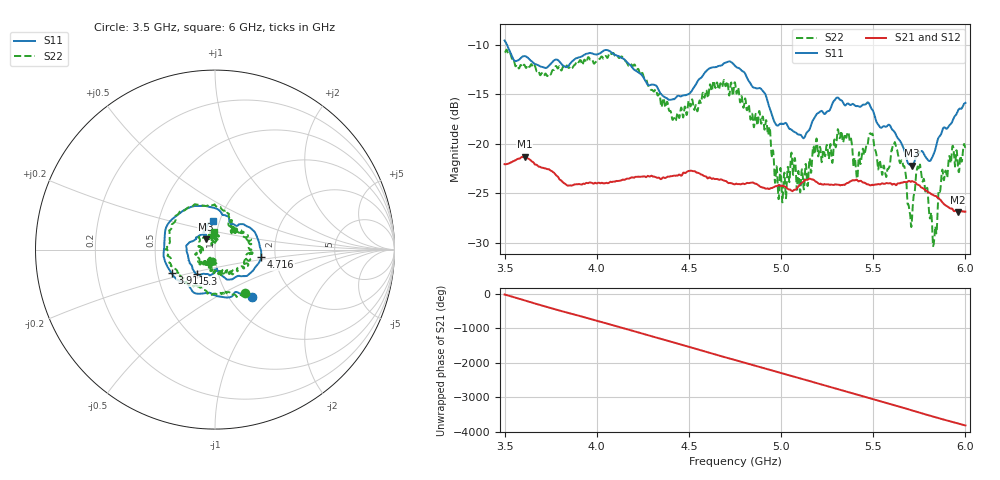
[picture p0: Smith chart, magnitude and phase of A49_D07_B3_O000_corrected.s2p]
! Created with skrf 1.9.0 (http://scikit-rf.org).
# Hz S RI R 50.0
!freq ReS11 ImS11 ReS21 ImS21 ReS12 ImS12 ReS22 ImS22
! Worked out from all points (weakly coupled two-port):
!   1601 points, 3.5 GHz to 6 GHz, reference 50 ohm
!   highest |S21| = -21.31 dB at 3.609 GHz (marker M1); lowest = -26.9 dB at 5.959 GHz (marker M2)
!   lowest |S11| = -22.2 dB at 5.711 GHz (marker M3), VSWR 1.17, Z = 44.9 + j5.25 ohm
!   |S11| at or under -10 dB: 3.514 GHz to end of sweep
!   |S22| runs from -30.4 to -10.5 dB; largest |S21 - S12| = 0.00091
!   S11 on the Smith chart (normalised r, x): 3.5 GHz: 1.27, -0.75; 3.911 GHz: 0.59, -0.17; 4.716 GHz: 1.69, -0.15; 5.3 GHz: 0.79, -0.22; 6 GHz: 0.93, +0.31
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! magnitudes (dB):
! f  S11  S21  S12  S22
! 3.5 GHz  -9.5  -22.1  -22.0  -10.7
! 3.609 GHz  -11.1  -21.3  -21.3  -12.0
! 3.911 GHz  -11.2  -24.1  -24.1  -11.5
! 3.917 GHz  -11.2  -24.1  -24.1  -11.7
! 4.334 GHz  -14.5  -23.4  -23.4  -15.1
! 4.42 GHz  -15.5  -23.2  -23.2  -17.4
! 4.716 GHz  -11.7  -24.0  -24.0  -14.9
! 4.75 GHz  -12.1  -24.1  -24.0  -13.8
! 4.928 GHz  -15.8  -24.5  -24.5  -19.1
! 4.997 GHz  -18.0  -24.3  -24.2  -22.4
! 5.167 GHz  -17.8  -23.6  -23.6  -21.9
! 5.3 GHz  -15.4  -24.1  -24.1  -20.0
! 5.405 GHz  -16.2  -23.7  -23.6  -22.3
! 5.489 GHz  -16.4  -24.2  -24.2  -19.0
! 5.584 GHz  -18.1  -24.0  -24.0  -22.4
! 5.62 GHz  -19.0  -24.1  -24.2  -20.0
! 5.711 GHz  -22.2  -23.8  -23.7  -27.4
! 5.748 GHz  -20.9  -24.2  -24.2  -22.7
! 5.833 GHz  -20.8  -25.3  -25.2  -29.3
! 5.867 GHz  -19.1  -25.7  -25.7  -24.1
! 5.959 GHz  -16.7  -26.9  -26.9  -22.2
! 6 GHz  -15.8  -26.9  -26.8  -20.3
